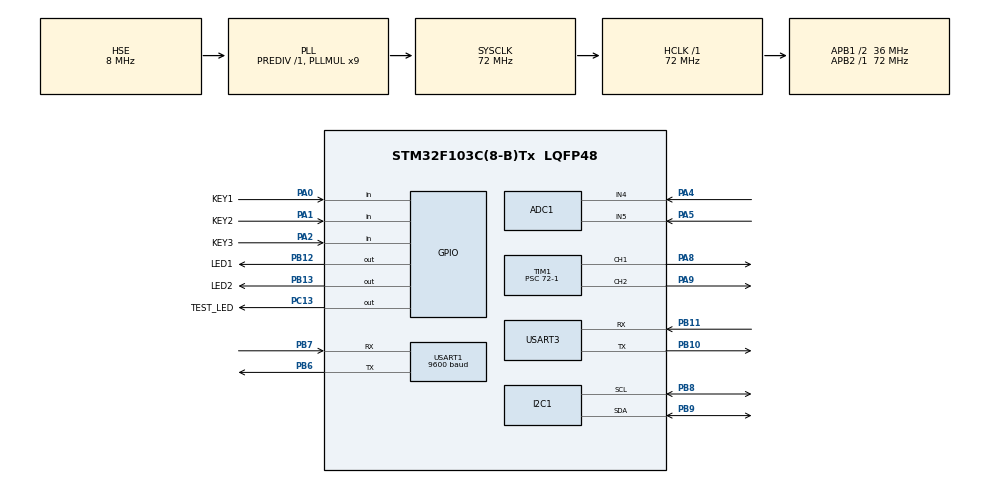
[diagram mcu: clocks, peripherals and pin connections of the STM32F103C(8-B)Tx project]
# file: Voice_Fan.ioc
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ADC1.Channel-0\#ChannelRegularConversion=ADC_CHANNEL_4
ADC1.Channel-1\#ChannelRegularConversion=ADC_CHANNEL_5
ADC1.ContinuousConvMode=ENABLE
ADC1.NbrOfConversion=2
ADC1.NbrOfConversionFlag=1
ADC1.Rank-0\#ChannelRegularConversion=1
ADC1.Rank-1\#ChannelRegularConversion=2
ADC1.SamplingTime-0\#ChannelRegularConversion=ADC_SAMPLETIME_55CYCLES_5
ADC1.SamplingTime-1\#ChannelRegularConversion=ADC_SAMPLETIME_55CYCLES_5
ADC1.master=1
Dma.ADC1.0.Direction=DMA_PERIPH_TO_MEMORY
Dma.ADC1.0.Instance=DMA1_Channel1
Dma.ADC1.0.MemDataAlignment=DMA_MDATAALIGN_HALFWORD
Dma.ADC1.0.MemInc=DMA_MINC_ENABLE
Dma.ADC1.0.Mode=DMA_CIRCULAR
Dma.ADC1.0.PeriphDataAlignment=DMA_PDATAALIGN_HALFWORD
Dma.ADC1.0.PeriphInc=DMA_PINC_DISABLE
Dma.ADC1.0.Priority=DMA_PRIORITY_LOW
Dma.Request0=ADC1
Dma.Request1=USART1_RX
Dma.Request2=USART1_TX
Dma.Request3=USART3_RX
Dma.Request4=USART3_TX
Dma.USART1_RX.1.Direction=DMA_PERIPH_TO_MEMORY
Dma.USART1_RX.1.Instance=DMA1_Channel5
Dma.USART1_RX.1.MemDataAlignment=DMA_MDATAALIGN_BYTE
Dma.USART1_RX.1.MemInc=DMA_MINC_ENABLE
Dma.USART1_RX.1.Mode=DMA_NORMAL
Dma.USART1_RX.1.PeriphDataAlignment=DMA_PDATAALIGN_BYTE
Dma.USART1_RX.1.PeriphInc=DMA_PINC_DISABLE
Dma.USART1_RX.1.Priority=DMA_PRIORITY_LOW
Dma.USART1_TX.2.Direction=DMA_MEMORY_TO_PERIPH
Dma.USART1_TX.2.Instance=DMA1_Channel4
Dma.USART1_TX.2.MemDataAlignment=DMA_MDATAALIGN_BYTE
Dma.USART1_TX.2.MemInc=DMA_MINC_ENABLE
Dma.USART1_TX.2.Mode=DMA_NORMAL
Dma.USART1_TX.2.PeriphDataAlignment=DMA_PDATAALIGN_BYTE
Dma.USART1_TX.2.PeriphInc=DMA_PINC_DISABLE
Dma.USART1_TX.2.Priority=DMA_PRIORITY_LOW
Dma.USART3_RX.3.Direction=DMA_PERIPH_TO_MEMORY
Dma.USART3_RX.3.Instance=DMA1_Channel3
Dma.USART3_RX.3.MemDataAlignment=DMA_MDATAALIGN_BYTE
Dma.USART3_RX.3.MemInc=DMA_MINC_ENABLE
Dma.USART3_RX.3.Mode=DMA_NORMAL
Dma.USART3_RX.3.PeriphDataAlignment=DMA_PDATAALIGN_BYTE
Dma.USART3_RX.3.PeriphInc=DMA_PINC_DISABLE
Dma.USART3_RX.3.Priority=DMA_PRIORITY_LOW
Dma.USART3_TX.4.Direction=DMA_MEMORY_TO_PERIPH
Dma.USART3_TX.4.Instance=DMA1_Channel2
Dma.USART3_TX.4.MemDataAlignment=DMA_MDATAALIGN_BYTE
Dma.USART3_TX.4.MemInc=DMA_MINC_ENABLE
Dma.USART3_TX.4.Mode=DMA_NORMAL
Dma.USART3_TX.4.PeriphDataAlignment=DMA_PDATAALIGN_BYTE
Dma.USART3_TX.4.PeriphInc=DMA_PINC_DISABLE
Dma.USART3_TX.4.Priority=DMA_PRIORITY_LOW
I2C1.I2C_Mode=I2C_Standard
Mcu.Family=STM32F1
Mcu.Name=STM32F103C(8-B)Tx
Mcu.Package=LQFP48
NVIC.DMA1_Channel1_IRQn=true\:5\:0\:true\:false\:true\:false\:true
NVIC.DMA1_Channel2_IRQn=true\:2\:0\:true\:false\:true\:false\:true
NVIC.DMA1_Channel3_IRQn=true\:2\:0\:true\:false\:true\:false\:true
NVIC.DMA1_Channel4_IRQn=true\:1\:0\:true\:false\:true\:false\:true
NVIC.DMA1_Channel5_IRQn=true\:1\:0\:true\:false\:true\:false\:true
NVIC.PriorityGroup=NVIC_PRIORITYGROUP_4
NVIC.TIM1_UP_IRQn=true\:6\:0\:true\:false\:true\:true\:true
NVIC.USART1_IRQn=true\:1\:0\:true\:false\:true\:true\:true
NVIC.USART3_IRQn=true\:2\:0\:true\:false\:true\:true\:true
PA0-WKUP.GPIO_Label=KEY1
PA0-WKUP.Signal=GPIO_Input
PA1.GPIO_Label=KEY2
PA1.Signal=GPIO_Input
PA13.Mode=Serial_Wire
PA13.Signal=SYS_JTMS-SWDIO
PA14.Mode=Serial_Wire
PA14.Signal=SYS_JTCK-SWCLK
PA2.GPIO_Label=KEY3
PA2.Signal=GPIO_Input
PA4.Signal=ADCx_IN4
PA5.Signal=ADCx_IN5
PA8.Signal=S_TIM1_CH1
PA9.Signal=S_TIM1_CH2
PB1.Signal=S_TIM3_CH4
PB10.Mode=Asynchronous
PB10.Signal=USART3_TX
PB11.GPIO_PuPd=GPIO_PULLUP
PB11.Mode=Asynchronous
PB11.Signal=USART3_RX
PB12.GPIO_Label=LED1
PB12.GPIO_ModeDefaultOutputPP=GPIO_MODE_OUTPUT_PP
PB12.PinState=GPIO_PIN_SET
PB12.Signal=GPIO_Output
PB13.GPIO_Label=LED2
PB13.GPIO_ModeDefaultOutputPP=GPIO_MODE_OUTPUT_PP
PB13.PinState=GPIO_PIN_SET
PB13.Signal=GPIO_Output
PB6.Mode=Asynchronous
PB6.Signal=USART1_TX
PB7.Mode=Asynchronous
PB7.Signal=USART1_RX
PB8.Mode=I2C
PB8.Signal=I2C1_SCL
PB9.Mode=I2C
PB9.Signal=I2C1_SDA
PC13-TAMPER-RTC.GPIO_Label=TEST_LED
PC13-TAMPER-RTC.Signal=GPIO_Output
PC14-OSC32_IN.Mode=LSE-External-Oscillator
PC14-OSC32_IN.Signal=RCC_OSC32_IN
PC15-OSC32_OUT.Mode=LSE-External-Oscillator
PC15-OSC32_OUT.Signal=RCC_OSC32_OUT
PD0-OSC_IN.Mode=HSE-External-Oscillator
PD0-OSC_IN.Signal=RCC_OSC_IN
PD1-OSC_OUT.Mode=HSE-External-Oscillator
PD1-OSC_OUT.Signal=RCC_OSC_OUT
ProjectManager.HeapSize=0x200
ProjectManager.StackSize=0x400
ProjectManager.TargetToolchain=MDK-ARM V5.27
RCC.ADCPresc=RCC_ADCPCLK2_DIV6
RCC.AHBFreq_Value=72000000
RCC.APB1CLKDivider=RCC_HCLK_DIV2
RCC.APB1Freq_Value=36000000
RCC.APB1TimFreq_Value=72000000
RCC.APB2Freq_Value=72000000
RCC.APB2TimFreq_Value=72000000
RCC.HCLKFreq_Value=72000000
RCC.PLLMUL=RCC_PLL_MUL9
RCC.PLLSourceVirtual=RCC_PLLSOURCE_HSE
RCC.RTCClockSelection=RCC_RTCCLKSOURCE_LSE
RCC.SYSCLKFreq_VALUE=72000000
RCC.SYSCLKSource=RCC_SYSCLKSOURCE_PLLCLK
RCC.USBFreq_Value=72000000
SH.ADCx_IN4.0=ADC1_IN4,IN4
SH.ADCx_IN5.0=ADC1_IN5,IN5
SH.S_TIM1_CH1.0=TIM1_CH1,PWM Generation1 CH1
SH.S_TIM1_CH2.0=TIM1_CH2,PWM Generation2 CH2
SH.S_TIM3_CH4.0=TIM3_CH4
TIM1.AutoReloadPreload=TIM_AUTORELOAD_PRELOAD_ENABLE
TIM1.Channel-PWM\ Generation1\ CH1=TIM_CHANNEL_1
TIM1.Channel-PWM\ Generation2\ CH2=TIM_CHANNEL_2
TIM1.Period=100-1
TIM1.Prescaler=72-1
USART1.BaudRate=9600
USART1.VirtualMode=VM_ASYNC
USART3.VirtualMode=VM_ASYNC
VP_RTC_VS_RTC_Activate.Mode=RTC_Enabled
VP_RTC_VS_RTC_Calendar.Mode=RTC_Calendar
VP_TIM1_VS_ClockSourceINT.Mode=Internal
board=custom

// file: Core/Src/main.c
/* USER CODE BEGIN Header */
/**
  ******************************************************************************
  * @file           : main.c
  * @brief          : Main program body
  ******************************************************************************
  * @attention
  *
  * <h2><center>&copy; Copyright (c) 2023 STMicroelectronics.
  * All rights reserved.</center></h2>
  *
  * This software component is licensed by ST under BSD 3-Clause license,
  * the "License"; You may not use this file except in compliance with the
  * License. You may obtain a copy of the License at:
  *                        opensource.org/licenses/BSD-3-Clause
  *
  ******************************************************************************
  */
/* USER CODE END Header */
#include "main.h"
#include "adc.h"
#include "dma.h"
#include "i2c.h"
#include "rtc.h"
#include "tim.h"
#include "usart.h"
#include "gpio.h"

/* USER CODE BEGIN Includes */
#include "oled.h"
#include "NTC2Fen.h"
#include "LW_core.h"
#include "led.h"
#include "key.h"

/* USER CODE END Includes */

/* USER CODE BEGIN PTD */
char show_buff[32];
uint16_t T1_COUNT=0,ADC1_Array[2],Temp_Newmax=0,FAN_Speed=0,Light_Hd=0;
float Volt_Newmax=0,Volt_Oldmax=0;
uint8_t UART1_Reflag,UART3_Reflag,Uart1_Rxbuff[128],Uart3_Rxbuff[128];
uint16_t UART1_Len=0,UART3_Len=0;
unsigned char x=0;
/* USER CODE END PTD */

/* USER CODE BEGIN PM */
RTC_DateTypeDef sdatestructure;
RTC_TimeTypeDef stimestructure;

/* USER CODE END PM */

void SystemClock_Config(void);

int main(void)
{
  /* USER CODE BEGIN 1 */
	char* endptr,mode_flag;
	uint8_t KEY_flag=0;

  /* USER CODE END 1 */

  /* MCU Configuration--------------------------------------------------------*/

  /* Reset of all peripherals, Initializes the Flash interface and the Systick. */
  HAL_Init();

  /* Configure the system clock */
  SystemClock_Config();

  /* Initialize all configured peripherals */
  MX_GPIO_Init();
  MX_DMA_Init();
  MX_ADC1_Init();
  MX_TIM1_Init();
  MX_USART1_UART_Init();
  MX_I2C1_Init();
  MX_USART3_UART_Init();
  MX_RTC_Init();
  /* USER CODE BEGIN 2 */
	HAL_TIM_Base_Start_IT(&htim1);
	HAL_ADC_Start_DMA(&hadc1,(uint32_t*)ADC1_Array,2);  //开始DMA ADC采集
	HAL_TIM_PWM_Start(&htim1,TIM_CHANNEL_1);
	HAL_TIM_PWM_Start(&htim1,TIM_CHANNEL_2);
  __HAL_UART_ENABLE_IT(&huart1,UART_IT_IDLE);//使能空闲中断
	HAL_UART_Receive_DMA(&huart1,Uart1_Rxbuff,sizeof(Uart1_Rxbuff)-1);//开启DMA接收
	__HAL_UART_ENABLE_IT(&huart3,UART_IT_IDLE);//使能空闲中断
	HAL_UART_Receive_DMA(&huart3,Uart3_Rxbuff,sizeof(Uart3_Rxbuff)-1);//开启DMA接收
	OLED_Init();
	FAN_Speed=20;
	Light_Hd=20;
	One_Page();
	HAL_Delay(500);
	OLED_Clear();
	OLED_ShowString(0,0,(uint8_t*)"   Voice_FAN",16);

	/*测备份寄存器是否还存着这个值，存在立即退出RTC初始化，不存在进行RTC初始化(M4内核已解决日期无法保存问题)*/
	if(HAL_RTCEx_BKUPRead(&hrtc,RTC_BKP_DR1) != 0X9607)
	{
		RTC_Set(2023,10,17,11,52,40); //设置日期和时间
		HAL_RTCEx_BKUPWrite(&hrtc,RTC_BKP_DR1,0X9607);//向16位备份寄存器随便写入一个数据
	}
	else printf("RTC Storage OK!");
	RTC_Get();
  printf("%04d/%02d/%02d ",calendar.w_year, calendar.w_month, calendar.w_date);
  printf("%02d:%02d:%02d",calendar.hour, calendar.min, calendar.sec);
	printf("The Crystal Oscillator:%dMHZ\r\n",HAL_RCC_GetSysClockFreq()/1000000);

  /* USER CODE END 2 */

  /* Infinite loop */
  /* USER CODE BEGIN WHILE */
  while (1)
  {
		LED2 = !LED2;
		if(UART1_Reflag)  //蓝牙数据处理
		{
			if(strstr((char*)Uart1_Rxbuff,(char*)"FAN"))
			{
				if(FindNumberInString((char*)Uart1_Rxbuff) <= 5) FAN_Speed=0;
				else FAN_Speed = FindNumberInString((char*)Uart1_Rxbuff);
			}
			else if(strstr((char*)Uart1_Rxbuff,(char*)"LIGHT"))
			{
				if(FindNumberInString((char*)Uart1_Rxbuff) <= 5) Light_Hd=0;
				else  Light_Hd = FindNumberInString((char*)Uart1_Rxbuff);
			}
			else if(strstr((char*)Uart1_Rxbuff,(char*)"RETIME"))
			{

			}
			UART1_Reflag=0;
			UART1_Len=0;
			memset(Uart1_Rxbuff,0x00,sizeof(Uart1_Rxbuff)); //清空数组
			HAL_UART_Receive_DMA(&huart1,Uart1_Rxbuff,sizeof(Uart1_Rxbuff)-1);
		}

		if(UART3_Reflag)  //语音数据处理
		{
			if(!strcmp((char*)"FON\r\n",(char*)Uart3_Rxbuff))
			{
    		HAL_UART_Transmit_DMA(&huart3,(uint8_t*)"Fyes",8);
				FAN_Speed=20;
			}
			else if(!strcmp((char*)"F+\r\n",(char*)Uart3_Rxbuff)) FAN_Speed=(FAN_Speed+10)%100;
			else if(!strcmp((char*)"F-\r\n",(char*)Uart3_Rxbuff))
			{
				if(FAN_Speed<=0) FAN_Speed=99;
				else FAN_Speed -= 10;
			}
			else if(!strcmp((char*)"FMAX\r\n",(char*)Uart3_Rxbuff)) FAN_Speed=99;
			else if(!strcmp((char*)"FMOD\r\n",(char*)Uart3_Rxbuff)) FAN_Speed=50;
			else if(!strcmp((char*)"FMIN\r\n",(char*)Uart3_Rxbuff)) FAN_Speed=10;
			else if(!strcmp((char*)"FOFF\r\n",(char*)Uart3_Rxbuff))
			{
				HAL_UART_Transmit_DMA(&huart3,(uint8_t*)"Foff",8);
				FAN_Speed=0;
			}

			if(!strcmp((char*)"LON\r\n",(char*)Uart3_Rxbuff))
			{
				HAL_UART_Transmit_DMA(&huart3,(uint8_t*)"Lyes",8);
				Light_Hd=20;
			}
			else if(!strcmp((char*)"L+\r\n",(char*)Uart3_Rxbuff)) Light_Hd=(Light_Hd+10)%100;
			else if(!strcmp((char*)"L-\r\n",(char*)Uart3_Rxbuff))
			{
				Light_Hd -= 10;
				if(Light_Hd<=0) Light_Hd=99;
			}
			else if(!strcmp((char*)"LMAX\r\n",(char*)Uart3_Rxbuff)) Light_Hd=99;
			else if(!strcmp((char*)"LMOD\r\n",(char*)Uart3_Rxbuff)) Light_Hd=50;
			else if(!strcmp((char*)"LMIN\r\n",(char*)Uart3_Rxbuff)) Light_Hd=10;
			else if(!strcmp((char*)"LOFF\r\n",(char*)Uart3_Rxbuff))
			{
				HAL_UART_Transmit_DMA(&huart3,(uint8_t*)"Loff",8);
				Light_Hd=0;
			}
			HAL_UART_Transmit_DMA(&huart3,Uart3_Rxbuff,UART3_Len);
			UART3_Reflag=0;
			UART3_Len=0;
			memset(Uart3_Rxbuff,0x00,sizeof(Uart3_Rxbuff)); //清空数组
			HAL_UART_Receive_DMA(&huart3,Uart3_Rxbuff,sizeof(Uart3_Rxbuff)-1);
		}

		KEY_flag = KEY_Scan(1);//按键处理
		if(KEY_flag == KEY1_PRESS)
		{
			mode_flag = (mode_flag+1)%2;
		}
		switch(mode_flag)
		{
			case 0:
			{
				if(KEY_flag == KEY2_PRESS)
				{
					FAN_Speed=(FAN_Speed+5)%100;
				}
				if(KEY_flag == KEY3_PRESS)
				{
					if(FAN_Speed-- <=0) FAN_Speed=99;
				}
				break;
			}
			case 1:
			{
				if(KEY_flag == KEY2_PRESS)
				{
					Light_Hd=(Light_Hd+5)%100;
				}
				if(KEY_flag == KEY3_PRESS)
				{
					if(Light_Hd-- <=0) Light_Hd=99;
				}
				break;
			}
		}

		TIM1->CCR1=FAN_Speed; TIM1->CCR2=Light_Hd;//风扇、灯光调节

		if(T1_COUNT%1000==0)  //外部供电电压检测
		{
			Volt_Newmax = ADC1_Array[0]*3.3f/4096*10+1.6;
			if(Volt_Newmax > Volt_Oldmax)
			{
				printf("voltage%01.2f\r\n",Volt_Newmax);
				Volt_Oldmax=Volt_Newmax;
			}
		}
		else if(T1_COUNT%100==0)//屏幕刷新
		{
			sprintf(show_buff,"Fan_speed:%03d%%  ",FAN_Speed);
			OLED_ShowString(1,2,(uint8_t*)show_buff,16);
			sprintf(show_buff,"Light_HD:%03d%%   ",Light_Hd);
			OLED_ShowString(1,4,(uint8_t*)show_buff,16);
			if(!mode_flag) OLED_ShowChar(122,2,'<',16);
			else OLED_ShowChar(122,4,'<',16);

			for(x=0;x<10;x++)//测温
			{
				Temp_Newmax = (Temp_Newmax+tempDetect(ADC1_Array[1]*3.3f/4096));
			}
			Temp_Newmax =(Temp_Newmax/10)-10;
			printf("temp%02d\r\n ",Temp_Newmax);

			HAL_RTC_GetTime(&hrtc, &stimestructure, RTC_FORMAT_BIN);
      HAL_RTC_GetDate(&hrtc, &sdatestructure, RTC_FORMAT_BIN);
			sprintf(show_buff,"    %02d:%02d:%02d",stimestructure.Hours, stimestructure.Minutes, stimestructure.Seconds);
			OLED_ShowString(1,6,(uint8_t*)show_buff,16);
		}

    /* USER CODE END WHILE */

  }
}

void SystemClock_Config(void)
{
  RCC_OscInitTypeDef RCC_OscInitStruct = {0};
  RCC_ClkInitTypeDef RCC_ClkInitStruct = {0};
  RCC_PeriphCLKInitTypeDef PeriphClkInit = {0};

  /** Initializes the RCC Oscillators according to the specified parameters
  * in the RCC_OscInitTypeDef structure.
  */
  RCC_OscInitStruct.OscillatorType = RCC_OSCILLATORTYPE_HSE|RCC_OSCILLATORTYPE_LSE;
  RCC_OscInitStruct.HSEState = RCC_HSE_ON;
  RCC_OscInitStruct.HSEPredivValue = RCC_HSE_PREDIV_DIV1;
  RCC_OscInitStruct.LSEState = RCC_LSE_ON;
  RCC_OscInitStruct.HSIState = RCC_HSI_ON;
  RCC_OscInitStruct.PLL.PLLState = RCC_PLL_ON;
  RCC_OscInitStruct.PLL.PLLSource = RCC_PLLSOURCE_HSE;
  RCC_OscInitStruct.PLL.PLLMUL = RCC_PLL_MUL9;
  if (HAL_RCC_OscConfig(&RCC_OscInitStruct) != HAL_OK)
  {
    Error_Handler();
  }
  /** Initializes the CPU, AHB and APB buses clocks
  */
  RCC_ClkInitStruct.ClockType = RCC_CLOCKTYPE_HCLK|RCC_CLOCKTYPE_SYSCLK
                              |RCC_CLOCKTYPE_PCLK1|RCC_CLOCKTYPE_PCLK2;
  RCC_ClkInitStruct.SYSCLKSource = RCC_SYSCLKSOURCE_PLLCLK;
  RCC_ClkInitStruct.AHBCLKDivider = RCC_SYSCLK_DIV1;
  RCC_ClkInitStruct.APB1CLKDivider = RCC_HCLK_DIV2;
  RCC_ClkInitStruct.APB2CLKDivider = RCC_HCLK_DIV1;

  if (HAL_RCC_ClockConfig(&RCC_ClkInitStruct, FLASH_LATENCY_2) != HAL_OK)
  {
    Error_Handler();
  }
  PeriphClkInit.PeriphClockSelection = RCC_PERIPHCLK_RTC|RCC_PERIPHCLK_ADC;
  PeriphClkInit.RTCClockSelection = RCC_RTCCLKSOURCE_LSE;
  PeriphClkInit.AdcClockSelection = RCC_ADCPCLK2_DIV6;
  if (HAL_RCCEx_PeriphCLKConfig(&PeriphClkInit) != HAL_OK)
  {
    Error_Handler();
  }
}

/* USER CODE BEGIN 4 */
//定时器回调函数，1ms中断一次
/************************************************************************************************
//延时时间=预分频系数PCS-1 * 分频系数ARR-1 / 晶振频率MHZ 这里是72*100/72 000 000=0.0001s;
//PWM输出频率 = 晶振频率MHZ / (预分频系数PCS-1 * 分频系数ARR-1) 这里是72000000/72*100=10KHZ;
//占空比计算公式 ：占空比=想设的值 / 分配系数 * 100%  例如：40% = 40/100;
*************************************************************************************************/

void HAL_TIM_PeriodElapsedCallback(TIM_HandleTypeDef *htim)  //定时器更新中断回调函数
{
	if(htim->Instance == TIM1)  //判断TIM1是否发生中断
	{
		T1_COUNT = (T1_COUNT+1)%10001;
		if(T1_COUNT%1000==0) LED1=~LED1;
	}
}

//串口回调函数
void HAL_UART_RxCpltCallback(UART_HandleTypeDef *huart)
{
	UNUSED(huart);
	if(huart ==&huart1)
	{
		UART1_Len = huart->RxXferSize-huart->hdmarx->Instance->CNDTR;
		UART1_Reflag=1;
	}
	if(huart ==&huart3)
	{
		UART3_Len = huart->RxXferSize-huart->hdmarx->Instance->CNDTR;
		UART3_Reflag=1;
	}
}

/* USER CODE END 4 */

void Error_Handler(void)
{
  __disable_irq();
  while (1)
  {
  }
}

/************************ (C) COPYRIGHT STMicroelectronics *****END OF FILE****/
